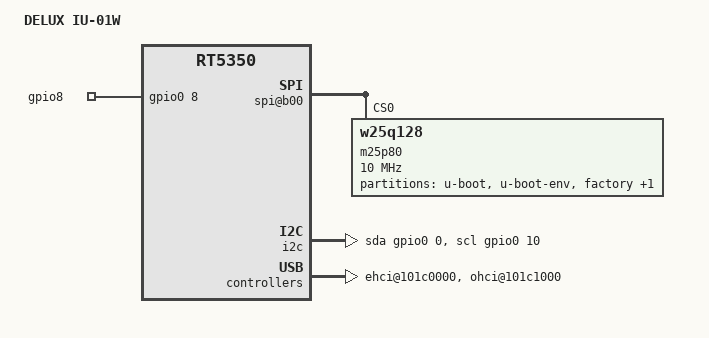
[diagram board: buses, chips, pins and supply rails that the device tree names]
/dts-v1/;

/include/ "rt5350.dtsi"

/ {
	compatible = "IU-01W", "ralink,rt5350-soc";
	model = "DELUX IU-01W";

	palmbus@10000000 {
		spi@b00 {
			status = "okay";

			m25p80@0 {
				#address-cells = <1>;
				#size-cells = <1>;
				#compatible = "mx25l6405d";
				compatible = "w25q128";
				reg = <0 0>;
				linux,modalias = "m25p80", "w25q128";
				spi-max-frequency = <10000000>;

				partition@0 {
					label = "u-boot";
					reg = <0x0 0x30000>;
				};

				partition@30000 {
					label = "u-boot-env";
					reg = <0x30000 0x10000>;
				};

				factory: partition@40000 {
					label = "factory";
					reg = <0x40000 0x10000>;
				};

				partition@50000 {
					label = "firmware";
					reg = <0x50000 0xfb0000>;
				};
			};
		};
	};

	pinctrl {
		state_default: pinctrl0 {
			gpio {
				ralink,group = "i2c", "jtag", "uartf";
				ralink,function = "gpio";
			};
		};
	};

	i2c {
		compatible = "i2c-gpio";

		gpios = <&gpio0 0 0>, <&gpio0 10 0>;
		i2c-gpio,delay-us = <10>;
	};

	ethernet@10100000 {
		mtd-mac-address = <&factory 0x4>;
	};

	esw@10110000 {
		mediatek,portmap = <0x2f>;
	};

	wmac@10180000 {
		ralink,mtd-eeprom = <&factory 0>;
	};

	ehci@101c0000 {
		status = "okay";
	};

	ohci@101c1000 {
		status = "okay";
	};

	gpio-export {
		compatible = "gpio-export";
		#size-cells = <0>;

		gpio8 {
			gpio-export,name = "gpio8";
			gpio-export,output = <0>;
			gpios = <&gpio0 8 0>;
		};
	};
};
